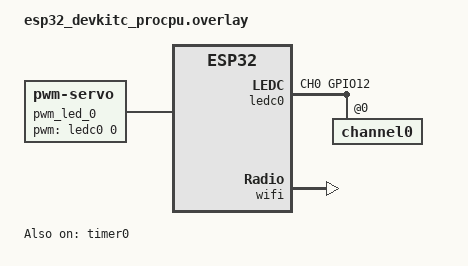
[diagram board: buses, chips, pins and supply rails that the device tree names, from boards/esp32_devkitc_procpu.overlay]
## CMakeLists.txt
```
cmake_minimum_required(VERSION 3.20.0)
find_package(Zephyr REQUIRED HINTS $ENV{ZEPHYR_BASE})
project(PROJETO_FINAL)

target_sources(app PRIVATE src/main.c)

add_subdirectory(src)

target_link_libraries(app PRIVATE cat_comedor_source)
```

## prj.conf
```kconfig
# Networking
CONFIG_NETWORKING=y
CONFIG_NET_SOCKETS=y
CONFIG_NET_TCP=y
CONFIG_NET_IPV4=y
CONFIG_NET_DHCPV4=y

# Wi-Fi
CONFIG_WIFI=y
CONFIG_WIFI_ESP32=y
CONFIG_NET_L2_WIFI_MGMT=y
CONFIG_ESP32_WIFI_STA_AUTO_DHCPV4=y
CONFIG_NET_MGMT_EVENT_INFO=y

# MQTT
CONFIG_MQTT_LIB=y
CONFIG_MQTT_KEEPALIVE=60

# Logging
CONFIG_LOG=y
CONFIG_LOG_DEFAULT_LEVEL=3
CONFIG_LOG_BUFFER_SIZE=1024
CONFIG_LOG_MODE_DEFERRED=y

# Kernel
CONFIG_MAIN_STACK_SIZE=4096
CONFIG_HEAP_MEM_POOL_SIZE=46336
CONFIG_REBOOT=y

# Debug extra (opcional)
CONFIG_ASSERT=y

# Outras configurações úteis
CONFIG_NEWLIB_LIBC=y
CONFIG_NEWLIB_LIBC_FLOAT_PRINTF=y
CONFIG_POSIX_API=y

CONFIG_NET_BUF_DATA_SIZE=256
CONFIG_NET_PKT_RX_COUNT=16
CONFIG_NET_PKT_TX_COUNT=16
CONFIG_NET_BUF_RX_COUNT=16
CONFIG_NET_BUF_TX_COUNT=16

CONFIG_GPIO=y
CONFIG_PWM=y

CONFIG_NETWORKING=y
CONFIG_NET_SOCKETS=y
CONFIG_POSIX_API=y 
CONFIG_DNS_RESOLVER=y
CONFIG_MQTT_LIB=y

# SNTP
CONFIG_SNTP=y
```

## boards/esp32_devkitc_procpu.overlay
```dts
#include <zephyr/dt-bindings/pwm/pwm.h>

/ {
    aliases {
        servo1 = &pwm_led_0;
    };

	pwm_led_0: pwm_led_0 {
		compatible = "pwm-servo";
		pwms = <&ledc0 0 PWM_HZ(100) PWM_POLARITY_NORMAL>;
		min-pulse = <PWM_USEC(1000)>;
    	max-pulse = <PWM_USEC(2000)>;
	};
	
};

&pinctrl {
	ledc0_default: ledc0_default {
		group1 {
			pinmux = <LEDC_CH0_GPIO12>;
			output-enable;
		};
	};

};

&ledc0 {
	pinctrl-0 = <&ledc0_default>;
	pinctrl-names = "default";
	status = "okay";
	#address-cells = <1>;
	#size-cells = <0>;
	channel0@0 {
		reg = <0x0>;
		timer = <0>;
	};
};

&timer0 {
	status = "okay";
};

&wifi {
	status = "okay";
};
```

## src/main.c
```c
#include <zephyr/kernel.h>
#include <zephyr/logging/log.h>
#include <zephyr/net/wifi.h>
#include <zephyr/net/wifi_mgmt.h>
#include <zephyr/net/net_event.h>
#include <zephyr/net/net_if.h>
#include <zephyr/net/mqtt.h>
#include <zephyr/drivers/pwm.h>
#include <zephyr/sys/atomic.h>
#include <zephyr/sys/reboot.h>
#include <time.h>  
#include <string.h>
#include <stdio.h>

/******************MY INCLUDES**********************/
#include "driver.h"
#include "defines.h"
#include "get_times.h"
/***************************************************/

LOG_MODULE_REGISTER(main, LOG_LEVEL_DBG);

static struct mqtt_client client;
static struct sockaddr_storage broker;
static struct net_mgmt_event_callback wifi_mgmt_cb;
static bool wifi_connected = false;
static bool mqqt_client_service = false;
static uint8_t rx_buffer[256];
static uint8_t tx_buffer[256];
uint32_t last_position = close_position;
char timedate_buffer[22];


int move_servo_smoothly(const struct pwm_dt_spec *servo, uint32_t from_us, uint32_t to_us, int steps, int delay_ms) {
    if (from_us == to_us) return to_us;
    int32_t delta = (int32_t)(to_us - from_us);
    int32_t step_size = delta / steps;
    int32_t current = from_us;

    for (int i = 0; i < steps; i++) {
        pwm_set_pulse_dt(servo, current);
        current += step_size;
        k_msleep(delay_ms);
    }
    pwm_set_pulse_dt(servo, to_us);
    return to_us;
}

void esp_reboot(){
    sys_reboot(SYS_REBOOT_COLD);
}

void Modo_Auto_ON_OFF(char arg[]){

    // LOG_INF("Print do argumento recebido: %s", arg);

    if(strcmp(arg, "AUTO")==0){
        LOG_INF("Comedor no modo automatico");
        ON_OFF_SNTP(true);
    }
    if(strcmp(arg, "AUTO_OFF")==0){
        LOG_INF("Desabilitando o modo automatico");
        ON_OFF_SNTP(false);
    }
}

void mqtt_evt_handler(struct mqtt_client *const c, const struct mqtt_evt *evt) {

    switch (evt->type) {
    case MQTT_EVT_CONNACK:
        LOG_INF("Cliente MQTT conectado!");
        mqtt_subscribe(&client, &sub_list);
        mqtt_publish(&client, &pub_param);
        break;

    case MQTT_EVT_DISCONNECT:
        LOG_INF("MQTT client disconnected, retrying in 5s");
        k_msleep(5000);
        mqtt_init_and_connect();
        break;

    case MQTT_EVT_PUBLISH: {
        const struct mqtt_publish_param *p = &evt->param.publish;
        uint8_t payload_buf[512];
        int len = mqtt_read_publish_payload(c, payload_buf, sizeof(payload_buf));

        if (len > 0) {
            payload_buf[len] = '\0';
            LOG_INF("Mensagem recebida: %s", payload_buf);

            if (strcmp(payload_buf, "OPEN") == 0) {
                if (last_position == close_position)
                {
                    LOG_INF("Comando ON recebido(Abrindo comedor)");
                    last_position = move_servo_smoothly(&servo1, close_position, open_position, 50, 20);
                    mqtt_publish(&client, &publish_opening);
                }else if(last_position == open_position)
                {
                    LOG_INF("Comedor já está aberto, aguardando comando CLOSE");
                    mqtt_publish(&client, &publish_open);
                }               
            }
            else if (strcmp(payload_buf, "CLOSE") == 0) {
                LOG_INF("Comando OFF recebido(Fechando comedor)");
                if (last_position == open_position)
                {
                    mqtt_publish(&client, &publish_closing);
                    last_position = move_servo_smoothly(&servo1, open_position, close_position, 50, 20);
                }else if(last_position == close_position)
                {
                    LOG_INF("Comedor já está fechado, aguardando comando OPEN");
                    mqtt_publish(&client, &publish_close);
                }

            }
            else if(payload_buf[0] == 'A')
            {
                Modo_Auto_ON_OFF(payload_buf);              
            }
            else {
                LOG_WRN("Comando desconhecido: %s", payload_buf);
            }

            if (p->message.topic.qos == MQTT_QOS_1_AT_LEAST_ONCE) {
                struct mqtt_puback_param ack = {
                    .message_id = evt->param.publish.message_id
                };
                mqtt_publish_qos1_ack(c, &ack);
            }
        }
        break;
    }

    default:
        break;
    }
}

int mqtt_init_and_connect(void) {
    int err;

    struct zsock_addrinfo hints = {
        .ai_family = AF_INET,
        .ai_socktype = SOCK_STREAM
    };
    struct zsock_addrinfo *res;

    err = zsock_getaddrinfo(MQTT_BROKER_IP, NULL, &hints, &res);
    if (err != 0 || res == NULL) {
        LOG_ERR("Failed to resolve broker address: %d", err);
        freeaddrinfo(res);
        return ERR_CONNECT_WI_FI;
    }

    struct sockaddr_in *addr4 = (struct sockaddr_in *)res->ai_addr;
    struct sockaddr_in *broker4 = (struct sockaddr_in *)&broker;
    broker4->sin_family = AF_INET;
    broker4->sin_port = htons(MQTT_BROKER_PORT);
    broker4->sin_addr = addr4->sin_addr;

    char ipstr[NET_IPV4_ADDR_LEN];
    inet_ntop(AF_INET, &addr4->sin_addr, ipstr, sizeof(ipstr));
    LOG_INF("Conectando no Broker(%s):%d", MQTT_BROKER_IP, MQTT_BROKER_PORT);
    
    freeaddrinfo(res);
    
    mqtt_client_init(&client);
    client.broker = &broker;
    client.protocol_version = MQTT_VERSION_3_1_0;
    client.transport.type = MQTT_TRANSPORT_NON_SECURE;
    client.keepalive = MQTT_KEEPALIVE;
    client.client_id.utf8 = "zephyr_client";
    client.client_id.size = strlen("zephyr_client");
    client.rx_buf = rx_buffer;
    client.rx_buf_size = sizeof(rx_buffer);
    client.tx_buf = tx_buffer;
    client.tx_buf_size = sizeof(tx_buffer);
    client.evt_cb = mqtt_evt_handler;
   
    err = mqtt_connect(&client);
    if (err != 0)
    {
        LOG_ERR("Erro na conexão com o mqqt_connect: %d", err);
        mqqt_client_service = true;
        return ERR_CONNECT_MQTT;
    }

    LOG_INF("MQTT OK enviando resposta via MQTT, aguardando CONNACK…"); 

    return OK;
}

static void wifi_mgmt_event_handler(struct net_mgmt_event_callback *cb, uint64_t mgmt_event, struct net_if *iface) {

    const struct wifi_status *status = cb->info;
    int err, retry=0;

    switch (mgmt_event) {
    case NET_EVENT_WIFI_CONNECT_RESULT:
        if (!status->status) {
            wifi_connected = true;
            LOG_INF("Wi-Fi connected successfully to SSID: %s", WIFI_SSID);
            mqtt_init_and_connect();
            k_msleep(1000);
            do{
                err = initialize_sntp();
                if( err == OK_TIME)
                {
                    break;
                }
                LOG_ERR("SNTP ERROR INIT: %d, retry: %d/%d, retry in 5 seconds...", ERR_INIT_SNT, retry+1, SNTP_MAX_RETRY);
                k_sleep(K_SECONDS(5));
                retry++;
            }while(retry < SNTP_MAX_RETRY);
            
            if(err != OK_TIME){
                LOG_ERR("SNTP ERROR INIT: %d, break system, reboot in 1s...", ERR_INIT_SNT);
                k_sleep(K_SECONDS(1));
                esp_reboot();
            }
        }
    break;
    case NET_EVENT_WIFI_DISCONNECT_RESULT:
        wifi_connected = false;
        LOG_INF("Wi-Fi não conectado, status: %d", status->status);
        LOG_INF("Tentando reconectar ao Wi-Fi em 5 segundos...");
        k_msleep(5000);
        net_mgmt(NET_REQUEST_WIFI_CONNECT, iface, &cnx_params, sizeof(cnx_params));
    break;
    default:
        LOG_WRN("Wi-Fi evento desconhecido: %d", status->status);
    break;
    }
}

int main(void) {

    LOG_INF("Starting Zephyr MQTT Client with Wi-Fi");

    if (!device_is_ready(servo1.dev)) {
        LOG_ERR("Failed to initialize PWM devices.");
        return 0;
    }
    LOG_INF("PWM devices initialized successfully.");

    pwm_set_pulse_dt(&servo1, close_position);  

    struct net_if *iface = net_if_get_default();

    LOG_INF("Connecting to Wi-Fi SSID: %s", WIFI_SSID);

    net_mgmt_init_event_callback(&wifi_mgmt_cb, wifi_mgmt_event_handler, NET_EVENT_WIFI_CONNECT_RESULT | NET_EVENT_WIFI_DISCONNECT_RESULT);
    net_mgmt_add_event_callback(&wifi_mgmt_cb);

    net_mgmt(NET_REQUEST_WIFI_CONNECT, iface, &cnx_params, sizeof(cnx_params));

    while (1) {
        if (wifi_connected) {
            mqtt_input(&client);
            mqtt_live(&client);
            k_msleep(1000);
        }
        if(mqqt_client_service){
            k_msleep(1000);
            mqtt_init_and_connect();
            mqqt_client_service = false;
        }    
        k_msleep(100);
    }
}
```

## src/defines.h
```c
/**********************WIFI PARAMS**************************/
#define WIFI_SSID                           "LSE"
#define WIFI_PASSWORD                       "HubLS3s2"

/******************MQTT PARAMS AND DEFINES*********************/
#define MQTT_KEEPALIVE                      60
#define MQTT_BROKER_IP                      "186.209.102.89"    //"mqtt://lse.dev.br" //"192.168.45.197"
#define MQTT_BROKER_PORT                    1883
#define MQTT_CLIENT_ID                      "zephyr_client"
#define MQTT_USER_CONECTED                  "Cliente Conectado"
#define MQTT_USER_DISCONNECTED              "Cliente Desconectado"
#define MQTT_USER_COMEDOR_OPENING           "Abrindo Comedor"
#define MQTT_USER_COMEDOR_OPEN              "Comedor Aberto"
#define MQTT_USER_COMEDOR_CLOSING           "Fechando Comedor"
#define MQTT_USER_COMEDOR_CLOSE             "Comedor Fechado"
#define MQTT_USER_AUTO_ON                   "Comedor Modo Auto Ligado"
#define MQTT_USER_AUTO_OFF                  "Comedor Modo Auto Desligado"



/************************SERVO MOTOR***************************/
#define PWM_PERIOD                          PWM_USEC(20000)
#define SERVO1_OPEN_US                      PWM_USEC(1555)
#define SERVO1_CLOSE_US                     PWM_USEC(2000)

/***********************NTP DEFINES****************************/
#define NTP_UNIX_EPOCH_OFFSET 2208988800UL
#define SNTP_MAX_RETRY  5

/***********************THREAD DEFINES**************************/
#define STACKSIZE                          1024
#define PRIORITY                            5

/***********************INTERVALOR DE HORAS*********************/
#define INTERVALO_COMEDOR_HORAS   12
#define INTERVALO_COMEDOR_SEGUNDOS (INTERVALO_COMEDOR_HORAS * 3600)
```

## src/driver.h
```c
/****************INCLUDES*****************/
#include <zephyr/net/mqtt.h>
#include <zephyr/drivers/pwm.h>
#include <string.h>
#include <stdio.h>
#include <zephyr/net/socket.h> 
#include "defines.h"

#define SERVO1 DT_ALIAS(servo1)
static const struct pwm_dt_spec servo1 =    PWM_DT_SPEC_GET(SERVO1);
static const uint32_t close_position =      DT_PROP(SERVO1, min_pulse);
static const uint32_t open_position =       DT_PROP(SERVO1, max_pulse);

enum {
    OK,
    ERR_CONNECT_WI_FI,
    ERR_CONNECT_MQTT,
    ERR_MQTT_ADRESS,
    ERR_SERVO_MOTOR,
};

struct wifi_connect_req_params cnx_params = {
    .ssid = WIFI_SSID,
    .ssid_length = strlen(WIFI_SSID),
    .psk = WIFI_PASSWORD,
    .psk_length = strlen(WIFI_PASSWORD),
    .channel = WIFI_CHANNEL_ANY,
    .security = WIFI_SECURITY_TYPE_PSK,
};

const struct mqtt_topic subscribe_topic = {
    .topic = {
        .utf8 = "meutopico/comandos",
        .size = strlen("meutopico/comandos")
    },
    .qos = MQTT_QOS_1_AT_LEAST_ONCE
};

const struct mqtt_subscription_list sub_list = {
    .list = (struct mqtt_topic *)&subscribe_topic,
    .list_count = 1,
    .message_id = 1
};
 

const struct mqtt_topic publish_topic = {
    .topic = {
        .utf8 = "meutopico/status",
        .size = strlen("meutopico/status")
    },
    .qos = MQTT_QOS_1_AT_LEAST_ONCE
};

const struct mqtt_publish_param pub_param = {
    .message = {
        .topic = publish_topic,
        .payload = {
            .data = (uint8_t *)MQTT_USER_CONECTED,
            .len = strlen(MQTT_USER_CONECTED)
        }
    },
    .message_id = 1,
    .dup_flag = 0,
    .retain_flag = 0
};

const struct mqtt_publish_param publish_opening = {
    .message = {
        .topic = publish_topic,
        .payload = {
            .data = (uint8_t *)MQTT_USER_COMEDOR_OPENING,
            .len = strlen(MQTT_USER_COMEDOR_OPENING)
        }
    },
    .message_id = 1,
    .dup_flag = 0,
    .retain_flag = 0    
};

const struct mqtt_publish_param publish_open = {
    .message = {
        .topic = publish_topic,
        .payload = {
            .data = (uint8_t *)MQTT_USER_COMEDOR_OPEN,
            .len = strlen(MQTT_USER_COMEDOR_OPEN)
        }
    },
    .message_id = 1,
    .dup_flag = 0,
    .retain_flag = 0    
};

const struct mqtt_publish_param publish_closing = {
    .message = {
        .topic = publish_topic,
        .payload = {
            .data = (uint8_t *)MQTT_USER_COMEDOR_CLOSING,
            .len = strlen(MQTT_USER_COMEDOR_CLOSING)
        }
    },
    .message_id = 1,
    .dup_flag = 0,
    .retain_flag = 0    
};

const struct mqtt_publish_param publish_close = {
    .message = {
        .topic = publish_topic,
        .payload = {
            .data = (uint8_t *)MQTT_USER_COMEDOR_CLOSE,
            .len = strlen(MQTT_USER_COMEDOR_CLOSE)
        }
    },
    .message_id = 1,
    .dup_flag = 0,
    .retain_flag = 0    
};

void modo_auto(int arg);

int mqtt_init_and_connect(void);

int move_servo_smoothly(const struct pwm_dt_spec *servo, uint32_t from_us, uint32_t to_us, int steps, int delay_ms);

void mqtt_evt_handler(struct mqtt_client *const c, const struct mqtt_evt *evt);
```

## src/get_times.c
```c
#include <stdio.h>
#include <string.h>
#include <zephyr/logging/log.h>

#include <zephyr/net/socket.h>
#include <zephyr/net/socket_service.h>
#include <zephyr/net/sntp.h>
#include <zephyr/net/net_mgmt.h>
#include <zephyr/net/net_if.h>
#include <time.h>

#include <zephyr/kernel.h>
#include <zephyr/sys/printk.h>
#include <zephyr/device.h>
#include <zephyr/drivers/pwm.h>

#include "get_times.h"
#include "defines.h"

LOG_MODULE_REGISTER(get_time, LOG_LEVEL_DBG);

struct sntp_time ts;
bool SNTP_ligado = false, SNTP_inicializado = false;

char server_sntp[] = "pool.ntp.org";

void ON_OFF_SNTP(bool modo_SNTP){
    SNTP_ligado = modo_SNTP;
}

int get_timedate(char *timedate_buffer, size_t bufsize)
{
    struct timespec ts;
    struct tm timeinfo;

    clock_gettime(CLOCK_REALTIME, &ts);

    ts.tv_sec -= 4 * 3600;

    gmtime_r(&ts.tv_sec, &timeinfo);

    size_t len = strftime(timedate_buffer, bufsize, "%Y-%m-%d %H:%M:%S", &timeinfo);
    if (len == 0 || len >= bufsize) {
        return -2; 
    }

    int n = snprintf(timedate_buffer + len, bufsize - len,
                     ".%03ld", ts.tv_nsec / 1000000L);
    if (n < 0 || (size_t)n >= bufsize - len) {
        return -3;
    }

    if (timeinfo.tm_hour < 12) {
        return -1;
    }

    return timeinfo.tm_sec;
}

time_t compare_timedate(time_t datetime_to_compare) {
    time_t current_time;
    time(&current_time);
    return datetime_to_compare - current_time;
}

int initialize_sntp(void) {
    struct sntp_time ntp;
    int ret = sntp_simple(server_sntp, 3000, &ntp);
    if (ret < 0) {
        LOG_ERR("SNTP failed: %d", ret);
        return ERR_INIT_SNT;
    }

    uint64_t sec = (uint64_t)ntp.seconds;
    uint64_t sec_unix;

    if (sec >= 2208988800ULL) {
        sec_unix = sec - 2208988800ULL;
    } else {
        sec_unix = sec;
    }

    struct timespec tv = {
        .tv_sec  = (time_t)sec_unix,
        .tv_nsec = (long)((((uint64_t)ntp.fraction) * 1000000000ULL) >> 32),
    };

    ret = clock_settime(CLOCK_REALTIME, &tv);
    if (ret < 0) {
        LOG_ERR("clock_settime failed: %d", ret);
        return ERR_INIT_SNT;
    }

    SNTP_inicializado = true;

    LOG_INF("SNTP set time ok");
    LOG_INF("seconds(unix): %llu",(unsigned long long)sec_unix);
    return OK_TIME;
}

void get_timedate_thread(void *arg1, void *arg2, void *arg3) {
    char buffer[32];

    while (1) {

        if (SNTP_ligado && SNTP_inicializado) {
            get_timedate(buffer, sizeof(buffer));
            LOG_DBG("Current time: %s", buffer);
            k_sleep(K_SECONDS(1));     
        }
        k_msleep(100);
    }
}

K_THREAD_DEFINE(get_timedate_thread_id, STACKSIZE, get_timedate_thread, NULL, NULL, NULL, PRIORITY, 0, 0);
```

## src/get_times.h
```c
#include <time.h>
#include <zephyr/sys/timeutil.h>
#include <zephyr/kernel.h>

enum {
    OK_TIME,
    ERR_GET_TIME,
    ERR_INIT_SNT,
};

int initialize_sntp(void);

void ON_OFF_SNTP(bool modo_SNTP);

int get_timedate(char *timedate_buffer, size_t bufsize);

time_t compare_timedate(time_t datetime_to_compare);
```
